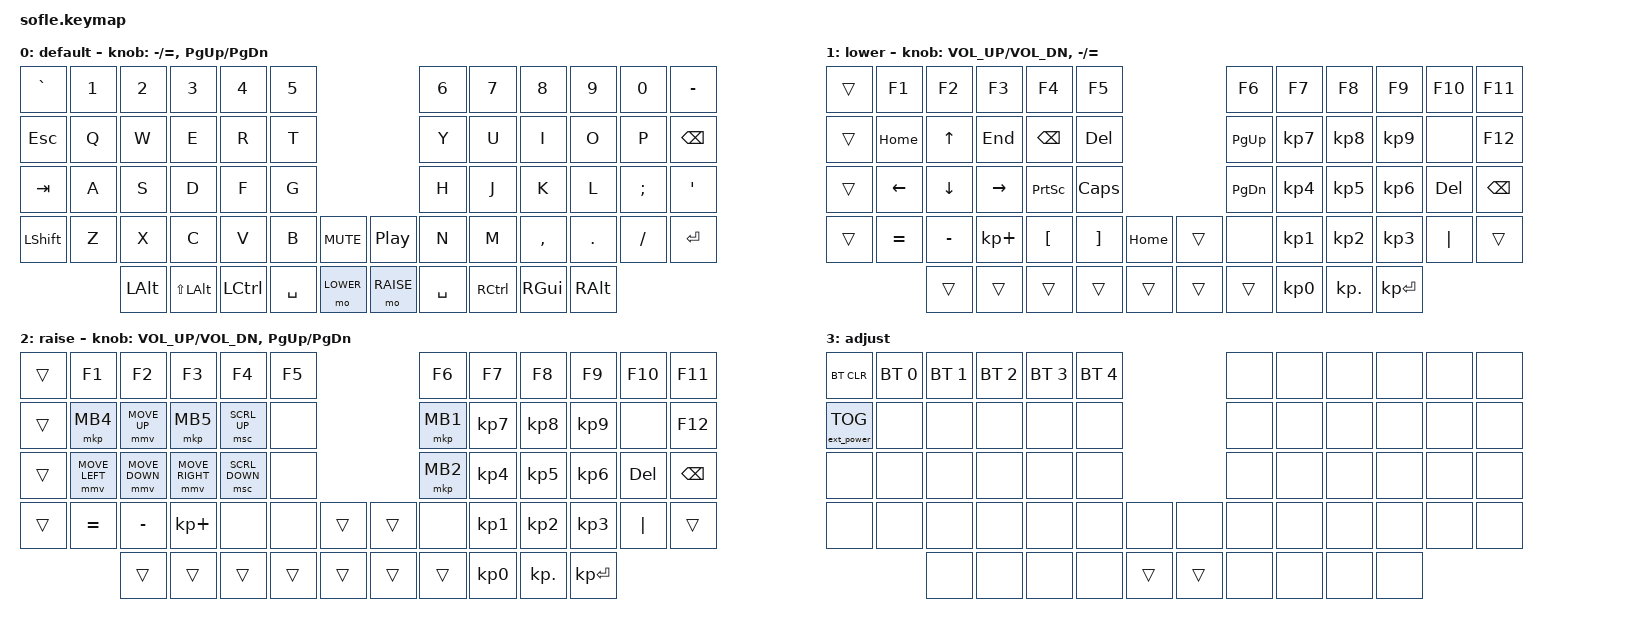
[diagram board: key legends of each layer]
/*
 * Copyright (c) 2020 The ZMK Contributors
 *
 * SPDX-License-Identifier: MIT
 */
// #include <dt-bindings/zmk/rgb.h>

#define ZMK_POINTING_DEFAULT_MOVE_VAL 1500  // default: 600
#define ZMK_POINTING_DEFAULT_SCRL_VAL 20    // default: 10

#include <behaviors.dtsi>
#include <dt-bindings/zmk/bt.h>
#include <dt-bindings/zmk/ext_power.h>
#include <dt-bindings/zmk/keys.h>
#include <dt-bindings/zmk/pointing.h>

#define BASE 0
#define LOWER 1
#define RAISE 2
#define ADJUST 3

/ {
    // Activate ADJUST layer by pressing raise and lower

    conditional_layers {
        compatible = "zmk,conditional-layers";

        adjust_layer {
            if-layers = <LOWER RAISE>;
            then-layer = <ADJUST>;
        };
    };

    keymap {
        compatible = "zmk,keymap";

        default_layer {
            display-name = "default";

            // ------------------------------------------------------------------------------------------------------------
            // |   `   |  1  |  2  |  3   |  4   |  5   |                   |  6   |  7    |  8    |  9   |   0   |   -   |
            // |  ESC  |  Q  |  W  |  E   |  R   |  T   |                   |  Y   |  U    |  I    |  O   |   P   | BKSPC |
            // |  TAB  |  A  |  S  |  D   |  F   |  G   |                   |  H   |  J    |  K    |  L   |   ;   |   '   |
            // | SHIFT |  Z  |  X  |  C   |  V   |  B   |  MUTE  |  |   PP  |  N   |  M    |  ,    |  .   |   /   | ENTER |
            //               | GUI | ALT  | CTRL | LOWER|  ENTER |  | SPACE | RAISE| CTRL  | ALT   | GUI  |

            bindings = <
&kp GRAVE  &kp N1  &kp N2    &kp N3        &kp N4     &kp N5                              &kp N6     &kp N7     &kp N8     &kp N9    &kp N0    &kp MINUS
&kp ESC    &kp Q   &kp W     &kp E         &kp R      &kp T                               &kp Y      &kp U      &kp I      &kp O     &kp P     &kp BSPC
&kp TAB    &kp A   &kp S     &kp D         &kp F      &kp G                               &kp H      &kp J      &kp K      &kp L     &kp SEMI  &kp SQT
&kp LSHFT  &kp Z   &kp X     &kp C         &kp V      &kp B      &kp C_MUTE    &kp C_PP   &kp N      &kp M      &kp COMMA  &kp DOT   &kp FSLH  &kp ENTER
                   &kp LALT  &kp LS(LALT)  &kp LCTRL  &kp SPACE  &mo LOWER     &mo RAISE  &kp SPACE  &kp RCTRL  &kp RGUI   &kp RALT
            >;

            sensor-bindings = <&inc_dec_kp MINUS EQUAL &inc_dec_kp PG_UP PG_DN>;
        };

        lower_layer {
            display-name = "lower";

            // TODO: Some binds are waiting for shifted keycode support.
            // ------------------------------------------------------------------------------------------------------------
            // |       |  F1 |  F2 |  F3  |  F4  |  F5  |                   |  F6  |  F7   |  F8   |  F9  |  F10  |  F11  |
            // |       |HOME |  ^  |  END | BSPC |  DEL |                   | PGUP |  7    |  8    |  9   |       |  F12  |
            // |       | <-  |  v  |  ->  |PSCRN | CAPS |                   | PGDN |  4    |  5    |  6   |  DEL  |   |   |
            // |       |SC_UP|  -  |SC_DN |  [   |  ]   |        |  |       |      |  1    |  2    |  3   |   \   |       |
            //               |     |      |      |      |        |  |       |      |  0    |  .    | ENT  |

            bindings = <
&trans  &kp F1     &kp F2     &kp F3     &kp F4     &kp F5                        &kp F6     &kp F7     &kp F8      &kp F9        &kp F10   &kp F11
&trans  &kp HOME   &kp UP     &kp END    &kp BSPC   &kp DEL                       &kp PG_UP  &kp KP_N7  &kp KP_N8   &kp KP_N9     &none     &kp F12
&trans  &kp LEFT   &kp DOWN   &kp RIGHT  &kp PSCRN  &kp CLCK                      &kp PG_DN  &kp KP_N4  &kp KP_N5   &kp KP_N6     &kp DEL   &kp BSPC
&trans  &kp EQUAL  &kp MINUS  &kp KP_PLUS   &kp LBKT   &kp RBKT  &kp HOME    &trans  &none      &kp KP_N1  &kp KP_N2   &kp KP_N3     &kp PIPE  &trans
                   &trans     &trans     &trans     &trans    &trans      &trans  &trans     &kp KP_N0  &kp KP_DOT  &kp KP_ENTER
            >;

            sensor-bindings = <&inc_dec_kp C_VOL_UP C_VOL_DN &inc_dec_kp MINUS EQUAL>;
        };

        raise_layer {
            display-name = "raise";

            // ------------------------------------------------------------------------------------------------------------
            // |       |  F1  |  F2  |  F3  |   F4  |  F5  |                |  F6  |  F7  |  F8   |  F9  |  F10  |  F11  |
            // |       |  MB4 |  MU  |  MB5 | SC_UP |      |                | LCLK |  7   |   8   |  9   |       |  F12  |
            // |       |  ML  |  MD  |  MR  | SC_DN |      |                | RCLK |  4   |   5   |  6   |  DEL  | BKSPC |
            // |       |  =   |   -  |   +  |       |      |      |  |      |      |  1   |   3   |  3   |   |   |       |
            //                |      |      |       |      |      |  |      |      |  0   |   .   |  ENT |

            bindings = <
&trans  &kp F1          &kp F2          &kp F3           &kp F4    &kp F5                       &kp F6    &kp F7     &kp F8      &kp F9        &kp F10   &kp F11
&trans  &mkp MB4        &mmv MOVE_UP    &mkp MB5         &msc SCRL_UP    &none                  &mkp MB1  &kp KP_N7  &kp KP_N8   &kp KP_N9     &none     &kp F12
&trans  &mmv MOVE_LEFT  &mmv MOVE_DOWN  &mmv MOVE_RIGHT  &msc SCRL_DOWN  &none                  &mkp MB2  &kp KP_N4  &kp KP_N5   &kp KP_N6     &kp DEL   &kp BSPC
&trans  &kp EQUAL       &kp MINUS       &kp KP_PLUS      &none     &none      &trans    &trans  &none     &kp KP_N1  &kp KP_N2   &kp KP_N3     &kp PIPE  &trans
                        &trans          &trans           &trans    &trans     &trans    &trans  &trans    &kp KP_N0  &kp KP_DOT  &kp KP_ENTER
            >;

            sensor-bindings = <&inc_dec_kp C_VOL_UP C_VOL_DN &inc_dec_kp PG_UP PG_DN>;
        };

        adjust_layer {
            // ----------------------------------------------------------------------------------------------------------------------------
            // | BTCLR  |  BT1    |  BT2    |   BT3   |   BT4   |   BT5   |                  |      |      |       |      |       |       |
            // | EXTPWR |         |         |         |         |         |                  |      |      |       |      |       |       |
            // |        |         |         |         |         |         |                  |      |      |       |      |       |       |
            // |        |         |         |         |         |         |         | |      |      |      |       |      |       |       |
            //                    |         |         |         |         |         | |      |      |      |       |      |

            display-name = "adjust";
            bindings = <
&bt BT_CLR         &bt BT_SEL 0  &bt BT_SEL 1  &bt BT_SEL 2  &bt BT_SEL 3  &bt BT_SEL 4                    &none  &none  &none  &none  &none  &none
&ext_power EP_TOG  &none         &none         &none         &none         &none                           &none  &none  &none  &none  &none  &none
&none              &none         &none         &none         &none         &none                           &none  &none  &none  &none  &none  &none
&none              &none         &none         &none         &none         &none         &none     &none   &none  &none  &none  &none  &none  &none
                                 &none         &none         &none         &none         &trans    &trans  &none  &none  &none  &none
            >;
        };
    };
};
